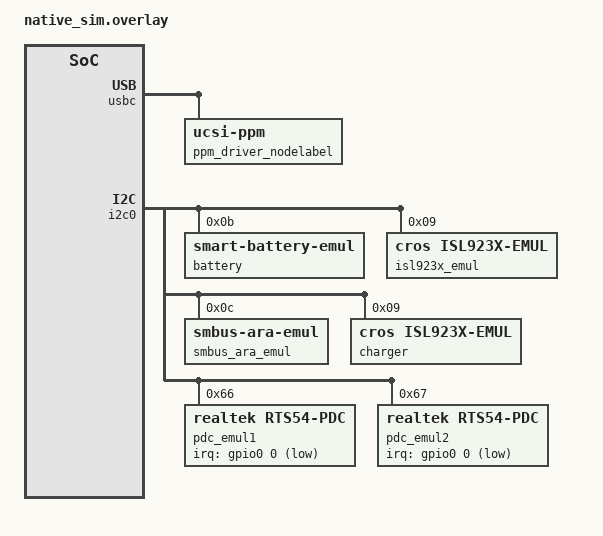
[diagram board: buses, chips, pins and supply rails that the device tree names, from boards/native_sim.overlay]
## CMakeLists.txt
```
# Copyright 2024 The ChromiumOS Authors
# Use of this source code is governed by a BSD-style license that can be
# found in the LICENSE file.

cmake_minimum_required(VERSION 3.13.1)
find_package(Zephyr REQUIRED HINTS "${ZEPHYR_BASE}")
project(charger)

target_include_directories(app PRIVATE
    ${CMAKE_CURRENT_SOURCE_DIR}/include
)

add_subdirectory(${PLATFORM_EC}/zephyr/test/test_utils test_utils)

add_subdirectory_ifdef(CONFIG_TEST_ISL923X isl923x)

if (DEFINED CONFIG_TEST_CHARGER_MULTI_DEF)
	target_compile_definitions(app PRIVATE CHARGER_PRIMARY=0 CHARGER_SECONDARY=1)
endif()

target_sources(app PRIVATE
	src/main.c
	src/mocks.c
)

add_subdirectory_ifdef(CONFIG_LINK_TEST_SUITE_CHARGE charge)

if ( NOT DEFINED CONFIG_LINK_TEST_SUITE_CHARGE)
	if (CONFIG_TEST_SRC STREQUAL "")
		target_sources(app PRIVATE ${PLATFORM_EC_PROGRAM_DIR}/${CONFIG_TEST_PROGRAM_NAME}/${CONFIG_TEST_BOARD_NAME}/src/charger.c)
	else()
		target_sources(app PRIVATE ${PLATFORM_EC_PROGRAM_DIR}/${CONFIG_TEST_PROGRAM_NAME}/${CONFIG_TEST_SRC})
	endif()
endif()
```

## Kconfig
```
# Copyright 2024 The ChromiumOS Authors
# Use of this source code is governed by a BSD-style license that can be
# found in the LICENSE file.

# Programs
config TEST_PROGRAM_BROX
	bool

config TEST_PROGRAM_NISSA
	bool

choice TEST_BOARD_VARIANT
	prompt "Board variant for tests"

	# Brox variants
	config TEST_BOARD_BROX
		bool "Run brox tests"
		select TEST_PROGRAM_BROX
		select TEST_ISL923X

	# Nissa variants
	config TEST_BOARD_CRAASK
		bool "Run craask tests"
		select TEST_PROGRAM_NISSA
		select TEST_ISL923X
		select TEST_CHARGER_MULTI_DEF

	config TEST_BOARD_CRAASKOV
		bool "Run craaskov tests"
		select TEST_PROGRAM_NISSA
		select TEST_ISL923X
		select TEST_CHARGER_MULTI_DEF

	config TEST_BOARD_GOTHRAX
		bool "Run gothrax tests"
		select TEST_PROGRAM_NISSA
		select TEST_ISL923X
		select TEST_CHARGER_MULTI_DEF

	config TEST_BOARD_NIVVIKS
		bool "Run nivvkis tests"
		select TEST_PROGRAM_NISSA
		select TEST_ISL923X
		select TEST_CHARGER_MULTI_DEF

	config TEST_BOARD_PIRRHA
		bool "Run pirrha tests"
		select TEST_PROGRAM_NISSA
		select TEST_ISL923X
		select TEST_CHARGER_MULTI_DEF

	config TEST_BOARD_PUJJO
		bool "Run pujjo tests"
		select TEST_PROGRAM_NISSA
		select TEST_ISL923X
		select TEST_CHARGER_SOLO_DEF

	config TEST_BOARD_ULDREN
		bool "Run uldren tests"
		select TEST_PROGRAM_NISSA
		select TEST_ISL923X
		select TEST_CHARGER_MULTI_DEF

	config TEST_BOARD_XIVU
		bool "Run xivu tests"
		select TEST_PROGRAM_NISSA
		select TEST_ISL923X
		select TEST_CHARGER_MULTI_DEF

	config TEST_BOARD_NATIVE_SIM
		bool "native sim test"

endchoice # TEST_BOARD_VARIANT

config TEST_PROGRAM_NAME
	string
	default "brox" if TEST_PROGRAM_BROX
	default "nissa" if TEST_PROGRAM_NISSA

config TEST_BOARD_NAME
	string
	default "brox" if TEST_BOARD_BROX
	default "craask" if TEST_BOARD_CRAASK
	default "craaskov" if TEST_BOARD_CRAASKOV
	default "gothrax" if TEST_BOARD_GOTHRAX
	default "nivviks" if TEST_BOARD_NIVVIKS
	default "pirrha" if TEST_BOARD_PIRRHA
	default "pujjo" if TEST_BOARD_PUJJO
	default "uldren" if TEST_BOARD_ULDREN
	default "xivu" if TEST_BOARD_XIVU

# Charger selection
config TEST_ISL923X
	bool
	select ISL923X_MOCK

# Test Selection
choice TEST_TARGET
	prompt "Test to run"
	optional

	config TEST_EXTPOWER
		bool "Run external power tests"
endchoice # TEST_TARGET

config TEST_SRC
	string "Override default file to test"
	help
	  By default zephyr/program/<program>/<variant>/charger.c is used

config TEST_CHARGER_SOLO_DEF
	bool
	help
	  Define CHARGER_SOLO

config TEST_CHARGER_MULTI_DEF
	bool
	help
	  Define CHARGER_PRIMARY and CHARGER_SECONDARY

config LINK_TEST_SUITE_CHARGE
	bool "Link and test charge files"

config TEST_CHARGE_ACOKREF
	bool "Test charge_acokref.c"

config TEST_CHARGE_MANAGER
	bool "Test charge_manager.c"

config TEST_CHARGE_RAMP
	bool "Test charge_ramp.c"

config TEST_CHARGE_STATE
	bool "Test charge_state.c"

config TEST_CHARGE_STATE_PREVENT_POWER_ON
	bool "Test charge_state.c prevent power on"

config TEST_CHARGE_MANAGER_SEEDING
	bool "Test charge_manager.c seeding"

source "Kconfig.zephyr"
```

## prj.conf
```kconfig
# Copyright 2024 The ChromiumOS Authors
# Use of this source code is governed by a BSD-style license that can be
# found in the LICENSE file.

CONFIG_ZTEST=y
CONFIG_ZTEST_ASSERT_VERBOSE=1
CONFIG_ASSERT=y
CONFIG_EMUL=y

CONFIG_CROS_EC=y
CONFIG_PLATFORM_EC=y
CONFIG_PLATFORM_EC_HOSTCMD=y

# Charger
CONFIG_PLATFORM_EC_BATTERY_FUEL_GAUGE=y
CONFIG_PLATFORM_EC_CHARGER_ISL9238=y
CONFIG_PLATFORM_EC_CHARGER_SENSE_RESISTOR=10
CONFIG_PLATFORM_EC_CHARGER_SENSE_RESISTOR_AC=20
CONFIG_PLATFORM_EC_CHARGER_MIN_POWER_MW_FOR_POWER_ON=30000
CONFIG_PLATFORM_EC_CHARGER_MIN_POWER_MW_FOR_POWER_ON_WITH_BATT=15000

CONFIG_PLATFORM_EC_USB_PD_VBUS_MEASURE_PDC=y
CONFIG_USB_PDC_POWER_MGMT=y

# Disable BC1.2
CONFIG_PLATFORM_EC_USB_CHARGER=n

CONFIG_PLATFORM_EC_CHARGER=y
CONFIG_PLATFORM_EC_CHARGER_SENSE_RESISTOR=10
CONFIG_PLATFORM_EC_CHARGER_SENSE_RESISTOR_AC=10
CONFIG_PLATFORM_EC_CHARGER_ISL9238=y

# Turn off other unneeded features
CONFIG_PLATFORM_EC_BACKLIGHT_LID=n
CONFIG_PLATFORM_EC_VBOOT_HASH=n
CONFIG_PLATFORM_EC_SWITCH=n
CONFIG_PLATFORM_EC_USBC_SS_MUX=n

# Disable [TCPMv2] Power Delivery Function
CONFIG_PLATFORM_EC_USB_POWER_DELIVERY=n
CONFIG_PLATFORM_EC_USBC_PPC=n
CONFIG_PLATFORM_EC_USB_PD_PPC=n
CONFIG_PLATFORM_EC_HOSTCMD_PD_CONTROL=n
CONFIG_PLATFORM_EC_HOSTCMD_RWHASHPD=n

# Disable typec host commands until a PDC counterpart exists.
CONFIG_PLATFORM_EC_HOSTCMD_TYPEC_DISCOVERY=n
CONFIG_PLATFORM_EC_HOSTCMD_TYPEC_CONTROL=n
CONFIG_PLATFORM_EC_HOSTCMD_TYPEC_STATUS=n
CONFIG_PLATFORM_EC_HOSTCMD_PD_CHIP_INFO=n

# Use PD Controller
CONFIG_PLATFORM_EC_USBC=y
CONFIG_PLATFORM_EC_USB_PD_CONTROLLER=y
CONFIG_PLATFORM_EC_USB_PD_VBUS_MEASURE_NOT_PRESENT=y
CONFIG_PLATFORM_EC_USB_PD_DISCHARGE=n
```

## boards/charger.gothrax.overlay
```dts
/* Copyright 2025 The ChromiumOS Authors
 * Use of this source code is governed by a BSD-style license that can be
 * found in the LICENSE file.
 */

/ {
       /* gothrax-specific fw_config fields. */
       cbi-fw-config {
               compatible = "cros-ec,cbi-fw-config";
               /*
                * FW_CONFIG field to extern charger max voltage select 15v/20v
                */
               adapter_voltage_limit {
                       enum-name = "ADAPTER_VOLTAGE_LIMIT";
                       start = <10>;
                       size = <1>;
                       limit15  {
                               compatible = "cros-ec,cbi-fw-config-value";
                               enum-name = "MAX15";
                               value = <0>;
                               default;
                       };
                       limit20 {
                               compatible = "cros-ec,cbi-fw-config-value";
                               enum-name = "MAX20";
                               value = <1>;
                       };
               };
       };
};
```

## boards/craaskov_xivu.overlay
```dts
/* Copyright 2024 The ChromiumOS Authors
 * Use of this source code is governed by a BSD-style license that can be
 * found in the LICENSE file.
 */

#include <dt-bindings/gpio_defines.h>
#include <npcx_emul.dts>

/ {
	named-gpios {
		compatible = "named-gpios";
		gpio_ec_acok_otg_c0: ec_acok_otg_c0 {
			gpios = <&gpioc 6 GPIO_OUTPUT>;
		};

		gpio_ec_acok_otg_c1: ec_acok_otg_c1 {
			gpios = <&gpioe 4 GPIO_OUTPUT>;
		};
	};
};
```

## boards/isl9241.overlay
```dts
/* Copyright 2025 The ChromiumOS Authors
 * Use of this source code is governed by a BSD-style license that can be
 * found in the LICENSE file.
 */

 #include <board-overlays/native_sim.dts>
 #include <usbc-policy.dtsi>

&i2c0 {

	/delete-node/ isl923x@9;

	charger: isl9241@9 {
		compatible = "intersil,isl9241";
		status = "okay";
		reg = <0x9>;
	};
};
```

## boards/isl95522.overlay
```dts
/* Copyright 2025 The ChromiumOS Authors
 * Use of this source code is governed by a BSD-style license that can be
 * found in the LICENSE file.
 */

 #include <board-overlays/native_sim.dts>
 #include <usbc-policy.dtsi>

&i2c0 {

	/delete-node/ isl923x@9;

	charger: isl95522@9 {
		compatible = "intersil,isl95522";
		status = "okay";
		reg = <0x9>;
		minimum-charging-mv = <15000>;
	};
};
```

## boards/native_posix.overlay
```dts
/* Copyright 2024 The ChromiumOS Authors
 * Use of this source code is governed by a BSD-style license that can be
 * found in the LICENSE file.
 */

/ {
	named-gpios {
		compatible = "named-gpios";

		/* Legacy system code requires GPIO_ENTERING_RW symbol */
		gpio_ec_entering_rw: ec_entering_rw {
			enum-name = "GPIO_ENTERING_RW";
		};
	};
};
```

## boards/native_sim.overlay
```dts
/* Copyright 2024 The ChromiumOS Authors
 * Use of this source code is governed by a BSD-style license that can be
 * found in the LICENSE file.
 */

 #include <board-overlays/native_sim.dts>
 #include <usbc-policy.dtsi>

/ {
	usbc {
		#address-cells = <1>;
		#size-cells = <0>;

		/* Configure just the DB port
		 */
		usbc0: port0@0 {
			compatible = "named-usbc-port";
			reg = <0>;
			chg = <&charger>;
			pdc = <&pdc_emul1>;
			chg = <&isl923x_emul>;
			policy = <&cros_policy>;
			pd-retimer;
			usb-mux-chain-0 {
				compatible = "cros-ec,usb-mux-chain";
				usb-muxes = <&virtual_mux_0>;
			};
		};

		port0-muxes {
			virtual_mux_0: virtual-mux-0 {
				compatible = "cros-ec,usbc-mux-virtual";
			};
		};

		usbc1: port1@1 {
			compatible = "named-usbc-port";
			reg = <1>;
			pdc = <&pdc_emul2>;
			policy = <&cros_policy>;
			pd-retimer;
			usb-mux-chain-1 {
				compatible = "cros-ec,usb-mux-chain";
				usb-muxes = <&virtual_mux_1>;
			};
		};

		port1-muxes {
			virtual_mux_1: virtual-mux-1 {
				compatible = "cros-ec,usbc-mux-virtual";
			};
		};

		ppm_driver_nodelabel: ppm-driver {
			compatible = "ucsi-ppm";
		};
	};

	batteries {
		default_battery: lgc_ac17a8m {
			compatible = "lgc,ac17a8m", "battery-smart";
		};
	};

	named-i2c-ports {
		compatible = "named-i2c-ports";

		i2c_ec_i2c_usb_c0: ec_i2c_usb_c0 {
			i2c-port = <&i2c0>;
			enum-names = "I2C_PORT_USB_C0_TCPC";
		};

		i2c_ec_i2c_charger: ec_i2c_charger {
			i2c-port = <&i2c0>;
			enum-names = "I2C_PORT_BATTERY";
		};
	};

};

&i2c0 {
	battery: sb@b {
		compatible = "zephyr,smart-battery-emul";
		reg = <0xb>;
		cycle-count = <6>;
		version = "BATTERY_SPEC_VER_1_1_WITH_PEC";
		desired-charg-volt = <11250>;
		desired-charg-cur = <2400>;
		mf-name = "LGC";
		dev-name = "AP18C8K";
	};

	isl923x_emul: isl923x@9 {
		compatible = "cros,isl923x-emul";
		status = "okay";
		reg = <0x09>;
		battery = <&battery>;
	};

	smbus_ara_emul: smbus_ara@c {
		compatible = "zephyr,smbus-ara-emul";
		reg = <0xc>;
	};

	charger: isl9238@9 {
		compatible = "cros,isl923x-emul";
		status = "okay";
		reg = <0x9>;
		battery = <&battery>;
	};

	pdc_emul1: rts5453p@66 {
		compatible = "realtek,rts54-pdc";
		status = "okay";
		reg = <0x66>;
		irq-gpios = <&gpio0 0 GPIO_ACTIVE_LOW>;
		ccd;
	};

	pdc_emul2: rts5453p@67 {
		compatible = "realtek,rts54-pdc";
		status = "okay";
		reg = <0x67>;
		irq-gpios = <&gpio0 0 GPIO_ACTIVE_LOW>;
	};
};
```

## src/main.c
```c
/* Copyright 2025 The ChromiumOS Authors
 * Use of this source code is governed by a BSD-style license that can be
 * found in the LICENSE file.
 */

#include "ec_app_main.h"

#include <zephyr/kernel.h>
#include <zephyr/ztest.h>

void test_main(void)
{
	ec_app_main();

	/* Run all the suites that depend on main being called */
	ztest_run_test_suites(NULL, false, 1, 1);

	/* Check that every suite ran */
	ztest_verify_all_test_suites_ran();
}
```

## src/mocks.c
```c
/* Copyright 2024 The ChromiumOS Authors
 * Use of this source code is governed by a BSD-style license that can be
 * found in the LICENSE file.
 */

int battery_is_present(void)
{
	return 1;
}
```
